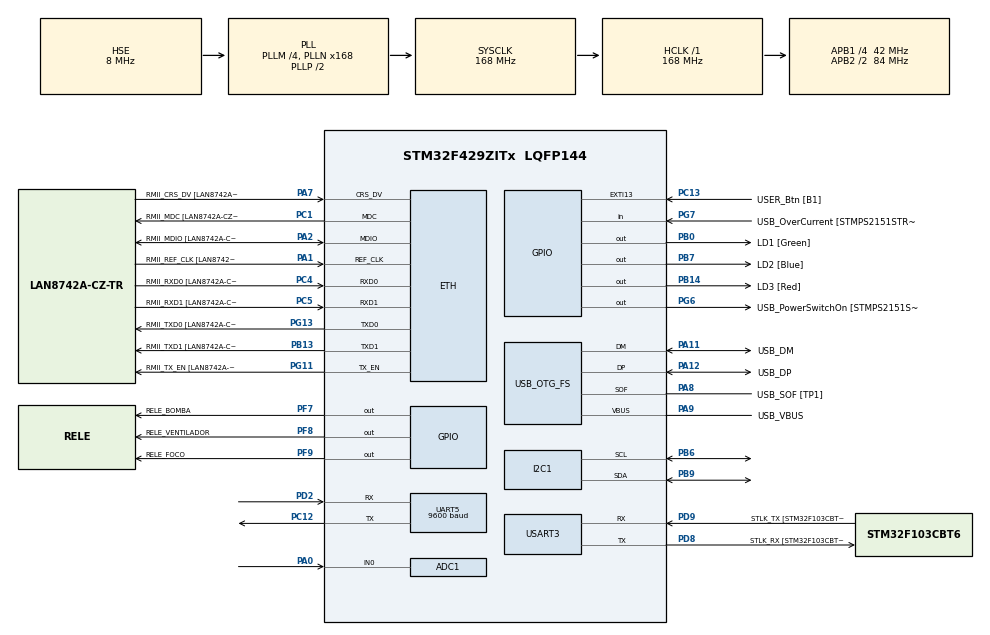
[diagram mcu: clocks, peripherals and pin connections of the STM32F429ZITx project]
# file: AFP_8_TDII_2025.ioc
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ADC1.Channel-0\#ChannelRegularConversion=ADC_CHANNEL_0
ADC1.NbrOfConversionFlag=1
ADC1.Rank-0\#ChannelRegularConversion=1
ADC1.SamplingTime-0\#ChannelRegularConversion=ADC_SAMPLETIME_3CYCLES
ADC1.master=1
ETH.MediaInterface=HAL_ETH_RMII_MODE
ETH.PHY_Name=LAN8742A_PHY_ADDRESS
ETH.PHY_Value=0
ETH.PhyAddress=0
Mcu.Family=STM32F4
Mcu.Name=STM32F429ZITx
Mcu.Package=LQFP144
NVIC.PriorityGroup=NVIC_PRIORITYGROUP_4
PA0/WKUP.Signal=ADCx_IN0
PA1.GPIO_Label=RMII_REF_CLK [LAN8742A-CZ-TR_REFCLK0]
PA1.Mode=RMII
PA1.Signal=ETH_REF_CLK
PA10.GPIO_Label=USB_ID
PA10.Signal=USB_OTG_FS_ID
PA11.GPIO_Label=USB_DM
PA11.Mode=Device_Only
PA11.Signal=USB_OTG_FS_DM
PA12.GPIO_Label=USB_DP
PA12.Mode=Device_Only
PA12.Signal=USB_OTG_FS_DP
PA13.GPIO_Label=TMS
PA13.Mode=Serial_Wire
PA13.Signal=SYS_JTMS-SWDIO
PA14.GPIO_Label=TCK
PA14.Mode=Serial_Wire
PA14.Signal=SYS_JTCK-SWCLK
PA2.GPIO_Label=RMII_MDIO [LAN8742A-CZ-TR_MDIO]
PA2.Mode=RMII
PA2.Signal=ETH_MDIO
PA7.GPIO_Label=RMII_CRS_DV [LAN8742A-CZ-TR_CRS_DV]
PA7.Mode=RMII
PA7.Signal=ETH_CRS_DV
PA8.GPIO_Label=USB_SOF [TP1]
PA8.Mode=Activate_SOF_FS
PA8.Signal=USB_OTG_FS_SOF
PA9.GPIO_Label=USB_VBUS
PA9.Mode=Activate_VBUS
PA9.Signal=USB_OTG_FS_VBUS
PB0.GPIO_Label=LD1 [Green]
PB0.Signal=GPIO_Output
PB13.GPIO_Label=RMII_TXD1 [LAN8742A-CZ-TR_TXD1]
PB13.Mode=RMII
PB13.Signal=ETH_TXD1
PB14.GPIO_Label=LD3 [Red]
PB14.Signal=GPIO_Output
PB6.Mode=I2C
PB6.Signal=I2C1_SCL
PB7.GPIO_Label=LD2 [Blue]
PB7.Signal=GPIO_Output
PB9.Mode=I2C
PB9.Signal=I2C1_SDA
PC1.GPIO_Label=RMII_MDC [LAN8742A-CZ-TR_MDC]
PC1.Mode=RMII
PC1.Signal=ETH_MDC
PC12.Mode=Asynchronous
PC12.Signal=UART5_TX
PC13.GPIO_Label=USER_Btn [B1]
PC13.Signal=GPXTI13
PC14/OSC32_IN.Mode=LSE-External-Oscillator
PC14/OSC32_IN.Signal=RCC_OSC32_IN
PC15/OSC32_OUT.Mode=LSE-External-Oscillator
PC15/OSC32_OUT.Signal=RCC_OSC32_OUT
PC4.GPIO_Label=RMII_RXD0 [LAN8742A-CZ-TR_RXD0]
PC4.Mode=RMII
PC4.Signal=ETH_RXD0
PC5.GPIO_Label=RMII_RXD1 [LAN8742A-CZ-TR_RXD1]
PC5.Mode=RMII
PC5.Signal=ETH_RXD1
PD2.Mode=Asynchronous
PD2.Signal=UART5_RX
PD8.GPIO_Label=STLK_RX [STM32F103CBT6_PA3]
PD8.Mode=Asynchronous
PD8.Signal=USART3_TX
PD9.GPIO_Label=STLK_TX [STM32F103CBT6_PA2]
PD9.Mode=Asynchronous
PD9.Signal=USART3_RX
PF7.GPIO_Label=RELE_BOMBA
PF7.Signal=GPIO_Output
PF8.GPIO_Label=RELE_VENTILADOR
PF8.Signal=GPIO_Output
PF9.GPIO_Label=RELE_FOCO
PF9.Signal=GPIO_Output
PG11.GPIO_Label=RMII_TX_EN [LAN8742A-CZ-TR_TXEN]
PG11.Mode=RMII
PG11.Signal=ETH_TX_EN
PG13.GPIO_Label=RMII_TXD0 [LAN8742A-CZ-TR_TXD0]
PG13.Mode=RMII
PG13.Signal=ETH_TXD0
PG6.GPIO_Label=USB_PowerSwitchOn [STMPS2151STR_EN]
PG6.Signal=GPIO_Output
PG7.GPIO_Label=USB_OverCurrent [STMPS2151STR_FAULT]
PG7.Signal=GPIO_Input
PH0/OSC_IN.GPIO_Label=MCO [STM32F103CBT6_PA8]
PH0/OSC_IN.Mode=HSE-External-Clock-Source
PH0/OSC_IN.Signal=RCC_OSC_IN
PH1/OSC_OUT.Mode=HSE-External-Clock-Source
PH1/OSC_OUT.Signal=RCC_OSC_OUT
ProjectManager.HeapSize=0x200
ProjectManager.StackSize=0x400
ProjectManager.TargetToolchain=STM32CubeIDE
RCC.48MHZClocksFreq_Value=48000000
RCC.AHBFreq_Value=168000000
RCC.APB1CLKDivider=RCC_HCLK_DIV4
RCC.APB1Freq_Value=42000000
RCC.APB1TimFreq_Value=84000000
RCC.APB2CLKDivider=RCC_HCLK_DIV2
RCC.APB2Freq_Value=84000000
RCC.APB2TimCLKDivider=2
RCC.APB2TimFreq_Value=168000000
RCC.CortexFreq_Value=168000000
RCC.HCLKFreq_Value=168000000
RCC.HSE_VALUE=8000000
RCC.HSI_VALUE=16000000
RCC.PLLM=4
RCC.PLLMUL=RCC_PLL_MUL9
RCC.PLLN=168
RCC.PLLQ=7
RCC.PRESCALERUSB=RCC_USBCLKSOURCE_PLL_DIV1_5
RCC.SYSCLKFreq_VALUE=168000000
RCC.SYSCLKSource=RCC_SYSCLKSOURCE_PLLCLK
RCC.SYSCLKSourceVirtual=RCC_SYSCLKSOURCE_PLLCLK
RCC.USBFreq_Value=48000000
RCC.VCOOutputFreq_Value=336000000
SH.ADCx_IN0.0=ADC1_IN0,IN0
UART5.BaudRate=9600
UART5.VirtualMode=Asynchronous
USART3.VirtualMode=VM_ASYNC
USB_OTG_FS.VirtualMode=Device_Only
board=NUCLEO-F429ZI

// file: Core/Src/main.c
/* USER CODE BEGIN Header */
/**
  ******************************************************************************
  * @file           : main.c
  * @brief          : Main program body
  ******************************************************************************
  * @attention
  *
  * Copyright (c) 2026 STMicroelectronics.
  * All rights reserved.
  *
  * This software is licensed under terms that can be found in the LICENSE file
  * in the root directory of this software component.
  * If no LICENSE file comes with this software, it is provided AS-IS.
  *
  ******************************************************************************
  */
/* USER CODE END Header */
#include "main.h"
#include "string.h"

/* USER CODE BEGIN Includes */
#include "Driver_GPIO.h"
#include "Driver_LCD.h"
#include "Driver_Delay.h"
#include "Driver_SensorSuelo.h"
#include "Driver_SHT30.h"
#include "Driver_Bluetooth.h" // <--- Tu driver portable
#include "Infraestructura.h" // <--- El puente al hardware
#include <stdio.h>
/* USER CODE END Includes */

/* USER CODE BEGIN PTD */
#define TIEMPO_LECTURA    2000
#define TIEMPO_BOMBA      3000
#define TIEMPO_VENTILADOR 3000
#define TIEMPO_FOCO       3000
// Definimos los "nombres" de cada etapa
typedef enum {
    ETAPA_BLUETOOTH = 0,
    ETAPA_SENSORES_LCD,
    ETAPA_LOGICA_ENCENDIDO,
    ETAPA_AUTO_APAGADO
} Etapa_t;
/* USER CODE END PTD */

ETH_TxPacketConfig TxConfig;
ETH_DMADescTypeDef  DMARxDscrTab[ETH_RX_DESC_CNT]; /* Ethernet Rx DMA Descriptors */
ETH_DMADescTypeDef  DMATxDscrTab[ETH_TX_DESC_CNT]; /* Ethernet Tx DMA Descriptors */

ADC_HandleTypeDef hadc1;

ETH_HandleTypeDef heth;

I2C_HandleTypeDef hi2c1;

UART_HandleTypeDef huart5;
UART_HandleTypeDef huart3;

PCD_HandleTypeDef hpcd_USB_OTG_FS;

/* USER CODE BEGIN PV */
Actuador_t bomba;
Actuador_t ventilador;
Actuador_t foco;
Actuador_t LED1;
Actuador_t LED2;
Actuador_t LED3;
//------>delay_t delayLector;//Esto queda en forma de comentario por si lo queremos usar despues de otra forma
SensorHumedad_t sensorSuelo;
SHT30_t sensorAire;
Bluetooth_t miBluetooth; // Instancia Bluetooth
LCD_t miLCD;
// --- Temporizadores ---
delay_t timerLectura;     // Para leer sensores cada 1 seg
delay_t timerBomba;       // Para contar los 30 seg de riego
delay_t timerVentilador;  // Para contar los 30 seg de ventilación
delay_t timerFoco;  // Para contar los 30 seg de luz

// --- Variables de Estado (Esto usaremos dentro del while) ---
char bufferDisplay[50];

// --- Constantes de Calibración ---
#define UMBRAL_SECO    20  // Si baja de 20%, regar
#define TEMP_UMBRAL_ALTA   35.0f
#define TEMP_UMBRAL_BAJA   10.0f

/* USER CODE END PV */

void SystemClock_Config(void);
static void MX_GPIO_Init(void);
static void MX_ETH_Init(void);
static void MX_USART3_UART_Init(void);
static void MX_USB_OTG_FS_PCD_Init(void);
static void MX_ADC1_Init(void);
static void MX_I2C1_Init(void);
static void MX_UART5_Init(void);

int main(void)
{

  /* MCU Configuration--------------------------------------------------------*/

  /* Reset of all peripherals, Initializes the Flash interface and the Systick. */
  HAL_Init();

  /* Configure the system clock */
  SystemClock_Config();

  /* Initialize all configured peripherals */
  MX_GPIO_Init();
  MX_ETH_Init();
  MX_USART3_UART_Init();
  MX_USB_OTG_FS_PCD_Init();
  MX_ADC1_Init();
  MX_I2C1_Init();
  MX_UART5_Init();
  /* USER CODE BEGIN 2 */
  // 1. Init Infraestructura y Drivers

    // LCD: I2C y Delay
    Infra_Delay(1000);
    LCD_Inicializar(&miLCD, (0x27 << 1), Infra_I2C_Write, Infra_Delay);

    // SHT30: I2C (Write/Read) y Delay
    SHT30_Inicializar(&sensorAire, (0x44 << 1), Infra_I2C_Write, Infra_I2C_Read, Infra_Delay);

    // Sensor Suelo: ADC
    SensorHumedad_Inicializar(&sensorSuelo, 4095, 950, Infra_ADC_Read);
    // Bluetooth: UART (Write/Read) -> AQUI CONECTAMOS CON INFRA
    Bluetooth_Inicializar(&miBluetooth, Infra_UART_Write, Infra_UART_Read);

    // Tiempos
//----->    delayInit(&delayLector, 1000, Infra_GetTick);

    // 2. Configuración de Tiempos
    Delay_Inicializar(&timerLectura,    TIEMPO_LECTURA,    Infra_GetTick);
    Delay_Inicializar(&timerBomba,      TIEMPO_BOMBA,      Infra_GetTick);
    Delay_Inicializar(&timerVentilador, TIEMPO_VENTILADOR, Infra_GetTick);
    Delay_Inicializar(&timerFoco,       TIEMPO_FOCO,       Infra_GetTick);

    LCD_Limpiar(&miLCD);
    LCD_Apuntar(&miLCD, 0, 0);
    LCD_EnviarCadena(&miLCD, "INICIANDO: ");
    LCD_Apuntar(&miLCD, 1, 0);
    LCD_EnviarCadena(&miLCD, "Sistema de riego");

    Actuador_Inicializar(&bomba,      (void*)GPIOF, RELE_BOMBA_Pin, Infra_GPIO_Write);
    Actuador_Inicializar(&ventilador, (void*)GPIOF, RELE_VENTILADOR_Pin, Infra_GPIO_Write);
    Actuador_Inicializar(&foco,       (void*)GPIOF, RELE_FOCO_Pin, Infra_GPIO_Write);

    Actuador_Inicializar(&LED1,      (void*)GPIOB, LD1_Pin, Infra_GPIO_Write);
    Actuador_Inicializar(&LED2, (void*)GPIOB, LD2_Pin, Infra_GPIO_Write);
    Actuador_Inicializar(&LED3,       (void*)GPIOB, LD3_Pin, Infra_GPIO_Write);

    Etapa_t ETAPA_ACTUAL = ETAPA_BLUETOOTH;

  /* USER CODE END 2 */

  /* Infinite loop */
  while (1)
  {
	  while (1)
	  {
			  switch(ETAPA_ACTUAL) {

			  case ETAPA_BLUETOOTH:
		      // ============================================================
		      // CASO 1: RECEPCIÓN BLUETOOTH (Alta Prioridad)
		      // ============================================================
		      uint8_t datoRecibido = Bluetooth_Leer(&miBluetooth);
		      if (datoRecibido != 0) {
		          switch(datoRecibido) {
		              case 'A': // Bomba Manual
		            	  Actuador_Toggle(&bomba); // Invierte estado (Si estaba ON pasa a OFF y viceversa)
		            	  Actuador_Toggle(&LED1); // Invierte estado (Si estaba ON pasa a OFF y viceversa)

		            	      if(bomba.estadoActual == 1) {
		            	          Delay_Escribir(&timerBomba, TIEMPO_BOMBA); // Reiniciamos timer
		            	          // No hace falta poner GPIO_On, el Toggle ya lo hizo
		            	      }
		            	      break;

		              case 'B': // Ventilador Manual
		            	  Actuador_Toggle(&foco); // Invierte estado (Si estaba ON pasa a OFF y viceversa)
		            	  Actuador_Toggle(&LED3); // Invierte estado (Si estaba ON pasa a OFF y viceversa)

		            	      if(foco.estadoActual == 1) {
		            	    	  Delay_Escribir(&timerFoco, TIEMPO_FOCO); // Reiniciamos timer
		            	          // No hace falta poner GPIO_On, el Toggle ya lo hizo
		            	      }
		            	      break;

		              case 'C': // Ventilador Manual

			            	  Actuador_Toggle(&ventilador); // Invierte estado (Si estaba ON pasa a OFF y viceversa)
			            	  Actuador_Toggle(&LED2); // Invierte estado (Si estaba ON pasa a OFF y viceversa)

			            	      if(ventilador.estadoActual == 1) {
			            	    	  Delay_Escribir(&timerVentilador, TIEMPO_VENTILADOR); // Reiniciamos timer
			            	          // No hace falta poner GPIO_On, el Toggle ya lo hizo
			            	      }
			            	      break;

		          }
		      }

		      ETAPA_ACTUAL = ETAPA_SENSORES_LCD;
		      break;

			  case ETAPA_SENSORES_LCD:
		      // ============================================================
		      // 2. LÓGICA DE SENSORES (Temporizada)
		      // ============================================================
		      if (Delay_Leer(&timerLectura)) {

		          // A. Actualizar Valores
		          SHT30_Leer(&sensorAire); // Actualiza .temperatura y .humedad en la estructura
		          SensorHumedad_LeerPorcentaje(&sensorSuelo);
		          // Leemos el suelo y lo guardamos en una variable local auxiliar
		         // LCD_Limpiar(&miLCD);---------------------------------------> Dejamos sin uso esta linea de limpiar LCD ya que sobre escribimos con los espacios correspondientes
		          // B. Mostrar en LCD - FILA 0: Datos del Sensor de Aire (SHT30)
		          LCD_Apuntar(&miLCD, 0, 0);
		          sprintf(bufferDisplay, "T:%d C HA:%d %  %",sensorAire.temperatura, sensorAire.humedad);
		          LCD_EnviarCadena(&miLCD, bufferDisplay);

		          // C. Mostrar en LCD - FILA 1: Datos del Sensor de Suelo
		          LCD_Apuntar(&miLCD, 1, 0);
		          sprintf(bufferDisplay, "Suelo: %d %%        ", sensorSuelo.humedadSuelo);
		          LCD_EnviarCadena(&miLCD, bufferDisplay);

//		          uint32_t valorCrudo = HAL_ADC_GetValue(&hadc1);
//		          // 2. Imprímelo en el LCD o Bluetooth
//		          sprintf(bufferDisplay, "RAW: %lu      ", valorCrudo);
//		          LCD_EnviarCadena(&miLCD, bufferDisplay);

		          // D. Enviar por Bluetooth (Todo junto separado por ;)
		          // Formato: T:25.5;H:60;S:40
		          sprintf(bufferDisplay, " %d; %d; %d; \n", sensorAire.humedad, sensorAire.temperatura, sensorSuelo.humedadSuelo);
		          Bluetooth_Enviar(&miBluetooth, bufferDisplay);

		          ETAPA_ACTUAL = ETAPA_LOGICA_ENCENDIDO;
		          break;

		          case ETAPA_LOGICA_ENCENDIDO:
		            // ============================================================
			        // CASE 3: LÓGICA DE CONTROL (Decidir encender)
			        // ============================================================
		          // Usamos la variable local 'humedadSuelo' que acabamos de leer
		          if (sensorSuelo.humedadSuelo < UMBRAL_SECO && bomba.estadoActual == 0) {
		        	  Actuador_On(&bomba); // Rele ON
		        	  Actuador_On(&LED1); // Rele ON

		        	  Delay_Escribir(&timerBomba, TIEMPO_BOMBA); // Iniciamos cuenta regresiva
		          }

		          // --------------------------------------------------------
		          // F. AUTOMATIZACIÓN VENTILADOR (Calor)
		          // --------------------------------------------------------
		          if (sensorAire.temperatura < TEMP_UMBRAL_BAJA && foco.estadoActual == 0) {
		        	  Actuador_On(&foco);   // Foco ON
		        	  Actuador_On(&LED3);   // Foco ON

		        	  Delay_Escribir(&timerFoco, TIEMPO_FOCO); // Iniciamos cuenta regresiva
		          }

		          // --------------------------------------------------------
		          // G. AUTOMATIZACIÓN BOMBILLA (Frio) - Histéresis
		          // --------------------------------------------------------
		        	if (sensorAire.temperatura > TEMP_UMBRAL_ALTA && ventilador.estadoActual == 0) {
		        	  Actuador_On(&ventilador); // Rela Vent ON
		        	  Actuador_On(&LED2); // Rela Vent ON

		        	  Delay_Escribir(&timerVentilador, TIEMPO_VENTILADOR); // Iniciamos cuenta regresiva
		          }

		      }

		      ETAPA_ACTUAL = ETAPA_AUTO_APAGADO;
		      break;

			  case ETAPA_AUTO_APAGADO:

		      // ============================================================
		            // CASE 4: CHEQUEO DE TIEMPOS Y APAGADO (Seguridad)
		            // ============================================================

		      // Chequeo Bomba
		      if (sensorSuelo.humedadSuelo > UMBRAL_SECO+10.0f && bomba.estadoActual == 1) {
		          if (Delay_Leer(&timerBomba)) {
		        	  Actuador_Off(&bomba); // Relay OFF
		        	  Actuador_Off(&LED1); // Relay OFF

		              Bluetooth_Enviar(&miBluetooth, ";;;Bomba: Auto-Off\n");
		          }
		      }
		      // Chequeo foco
		      if (sensorAire.temperatura > TEMP_UMBRAL_BAJA+5.0f && foco.estadoActual == 1) {
		          if (Delay_Leer(&timerFoco)) {
		        	  Actuador_Off(&foco);
		        	  Actuador_Off(&LED3);

		              Bluetooth_Enviar(&miBluetooth, ";;;Foco: Auto-Off\n");
		          }
		      }
		      // Chequeo Ventilador
		      if (sensorAire.temperatura < TEMP_UMBRAL_ALTA-4.0f && ventilador.estadoActual == 1) {
		          if (Delay_Leer(&timerVentilador)) {
		        	  Actuador_Off(&ventilador); // Relay OFF
		        	  Actuador_Off(&LED2); // Relay OFF

		              Bluetooth_Enviar(&miBluetooth, ";;;Ventilador: Auto-Off\n");
		          }

		      }

		                ETAPA_ACTUAL = ETAPA_BLUETOOTH;
		                break;
		  }
		}
		}
}
void SystemClock_Config(void)
{
  RCC_OscInitTypeDef RCC_OscInitStruct = {0};
  RCC_ClkInitTypeDef RCC_ClkInitStruct = {0};

  /** Configure the main internal regulator output voltage
  */
  __HAL_RCC_PWR_CLK_ENABLE();
  __HAL_PWR_VOLTAGESCALING_CONFIG(PWR_REGULATOR_VOLTAGE_SCALE1);

  /** Initializes the RCC Oscillators according to the specified parameters
  * in the RCC_OscInitTypeDef structure.
  */
  RCC_OscInitStruct.OscillatorType = RCC_OSCILLATORTYPE_HSE;
  RCC_OscInitStruct.HSEState = RCC_HSE_BYPASS;
  RCC_OscInitStruct.PLL.PLLState = RCC_PLL_ON;
  RCC_OscInitStruct.PLL.PLLSource = RCC_PLLSOURCE_HSE;
  RCC_OscInitStruct.PLL.PLLM = 4;
  RCC_OscInitStruct.PLL.PLLN = 168;
  RCC_OscInitStruct.PLL.PLLP = RCC_PLLP_DIV2;
  RCC_OscInitStruct.PLL.PLLQ = 7;
  if (HAL_RCC_OscConfig(&RCC_OscInitStruct) != HAL_OK)
  {
    Error_Handler();
  }

  /** Initializes the CPU, AHB and APB buses clocks
  */
  RCC_ClkInitStruct.ClockType = RCC_CLOCKTYPE_HCLK|RCC_CLOCKTYPE_SYSCLK
                              |RCC_CLOCKTYPE_PCLK1|RCC_CLOCKTYPE_PCLK2;
  RCC_ClkInitStruct.SYSCLKSource = RCC_SYSCLKSOURCE_PLLCLK;
  RCC_ClkInitStruct.AHBCLKDivider = RCC_SYSCLK_DIV1;
  RCC_ClkInitStruct.APB1CLKDivider = RCC_HCLK_DIV4;
  RCC_ClkInitStruct.APB2CLKDivider = RCC_HCLK_DIV2;

  if (HAL_RCC_ClockConfig(&RCC_ClkInitStruct, FLASH_LATENCY_5) != HAL_OK)
  {
    Error_Handler();
  }
}

static void MX_ADC1_Init(void)
{

  ADC_ChannelConfTypeDef sConfig = {0};

  /** Configure the global features of the ADC (Clock, Resolution, Data Alignment and number of conversion)
  */
  hadc1.Instance = ADC1;
  hadc1.Init.ClockPrescaler = ADC_CLOCK_SYNC_PCLK_DIV4;
  hadc1.Init.Resolution = ADC_RESOLUTION_12B;
  hadc1.Init.ScanConvMode = DISABLE;
  hadc1.Init.ContinuousConvMode = DISABLE;
  hadc1.Init.DiscontinuousConvMode = DISABLE;
  hadc1.Init.ExternalTrigConvEdge = ADC_EXTERNALTRIGCONVEDGE_NONE;
  hadc1.Init.ExternalTrigConv = ADC_SOFTWARE_START;
  hadc1.Init.DataAlign = ADC_DATAALIGN_RIGHT;
  hadc1.Init.NbrOfConversion = 1;
  hadc1.Init.DMAContinuousRequests = DISABLE;
  hadc1.Init.EOCSelection = ADC_EOC_SINGLE_CONV;
  if (HAL_ADC_Init(&hadc1) != HAL_OK)
  {
    Error_Handler();
  }

  /** Configure for the selected ADC regular channel its corresponding rank in the sequencer and its sample time.
  */
  sConfig.Channel = ADC_CHANNEL_0;
  sConfig.Rank = 1;
  sConfig.SamplingTime = ADC_SAMPLETIME_3CYCLES;
  if (HAL_ADC_ConfigChannel(&hadc1, &sConfig) != HAL_OK)
  {
    Error_Handler();
  }

}

static void MX_ETH_Init(void)
{

   static uint8_t MACAddr[6];

  heth.Instance = ETH;
  MACAddr[0] = 0x00;
  MACAddr[1] = 0x80;
  MACAddr[2] = 0xE1;
  MACAddr[3] = 0x00;
  MACAddr[4] = 0x00;
  MACAddr[5] = 0x00;
  heth.Init.MACAddr = &MACAddr[0];
  heth.Init.MediaInterface = HAL_ETH_RMII_MODE;
  heth.Init.TxDesc = DMATxDscrTab;
  heth.Init.RxDesc = DMARxDscrTab;
  heth.Init.RxBuffLen = 1524;

  if (HAL_ETH_Init(&heth) != HAL_OK)
  {
    Error_Handler();
  }

  memset(&TxConfig, 0 , sizeof(ETH_TxPacketConfig));
  TxConfig.Attributes = ETH_TX_PACKETS_FEATURES_CSUM | ETH_TX_PACKETS_FEATURES_CRCPAD;
  TxConfig.ChecksumCtrl = ETH_CHECKSUM_IPHDR_PAYLOAD_INSERT_PHDR_CALC;
  TxConfig.CRCPadCtrl = ETH_CRC_PAD_INSERT;

}

static void MX_I2C1_Init(void)
{

  hi2c1.Instance = I2C1;
  hi2c1.Init.ClockSpeed = 100000;
  hi2c1.Init.DutyCycle = I2C_DUTYCYCLE_2;
  hi2c1.Init.OwnAddress1 = 0;
  hi2c1.Init.AddressingMode = I2C_ADDRESSINGMODE_7BIT;
  hi2c1.Init.DualAddressMode = I2C_DUALADDRESS_DISABLE;
  hi2c1.Init.OwnAddress2 = 0;
  hi2c1.Init.GeneralCallMode = I2C_GENERALCALL_DISABLE;
  hi2c1.Init.NoStretchMode = I2C_NOSTRETCH_DISABLE;
  if (HAL_I2C_Init(&hi2c1) != HAL_OK)
  {
    Error_Handler();
  }

  /** Configure Analogue filter
  */
  if (HAL_I2CEx_ConfigAnalogFilter(&hi2c1, I2C_ANALOGFILTER_ENABLE) != HAL_OK)
  {
    Error_Handler();
  }

  /** Configure Digital filter
  */
  if (HAL_I2CEx_ConfigDigitalFilter(&hi2c1, 0) != HAL_OK)
  {
    Error_Handler();
  }

}

static void MX_UART5_Init(void)
{

  huart5.Instance = UART5;
  huart5.Init.BaudRate = 9600;
  huart5.Init.WordLength = UART_WORDLENGTH_8B;
  huart5.Init.StopBits = UART_STOPBITS_1;
  huart5.Init.Parity = UART_PARITY_NONE;
  huart5.Init.Mode = UART_MODE_TX_RX;
  huart5.Init.HwFlowCtl = UART_HWCONTROL_NONE;
  huart5.Init.OverSampling = UART_OVERSAMPLING_16;
  if (HAL_UART_Init(&huart5) != HAL_OK)
  {
    Error_Handler();
  }

}

static void MX_USART3_UART_Init(void)
{

  huart3.Instance = USART3;
  huart3.Init.BaudRate = 115200;
  huart3.Init.WordLength = UART_WORDLENGTH_8B;
  huart3.Init.StopBits = UART_STOPBITS_1;
  huart3.Init.Parity = UART_PARITY_NONE;
  huart3.Init.Mode = UART_MODE_TX_RX;
  huart3.Init.HwFlowCtl = UART_HWCONTROL_NONE;
  huart3.Init.OverSampling = UART_OVERSAMPLING_16;
  if (HAL_UART_Init(&huart3) != HAL_OK)
  {
    Error_Handler();
  }

}

static void MX_USB_OTG_FS_PCD_Init(void)
{

  hpcd_USB_OTG_FS.Instance = USB_OTG_FS;
  hpcd_USB_OTG_FS.Init.dev_endpoints = 4;
  hpcd_USB_OTG_FS.Init.speed = PCD_SPEED_FULL;
  hpcd_USB_OTG_FS.Init.dma_enable = DISABLE;
  hpcd_USB_OTG_FS.Init.phy_itface = PCD_PHY_EMBEDDED;
  hpcd_USB_OTG_FS.Init.Sof_enable = ENABLE;
  hpcd_USB_OTG_FS.Init.low_power_enable = DISABLE;
  hpcd_USB_OTG_FS.Init.lpm_enable = DISABLE;
  hpcd_USB_OTG_FS.Init.vbus_sensing_enable = ENABLE;
  hpcd_USB_OTG_FS.Init.use_dedicated_ep1 = DISABLE;
  if (HAL_PCD_Init(&hpcd_USB_OTG_FS) != HAL_OK)
  {
    Error_Handler();
  }

}

static void MX_GPIO_Init(void)
{
  GPIO_InitTypeDef GPIO_InitStruct = {0};

  /* GPIO Ports Clock Enable */
  __HAL_RCC_GPIOC_CLK_ENABLE();
  __HAL_RCC_GPIOF_CLK_ENABLE();
  __HAL_RCC_GPIOH_CLK_ENABLE();
  __HAL_RCC_GPIOA_CLK_ENABLE();
  __HAL_RCC_GPIOB_CLK_ENABLE();
  __HAL_RCC_GPIOD_CLK_ENABLE();
  __HAL_RCC_GPIOG_CLK_ENABLE();

  /*Configure GPIO pin Output Level */
  HAL_GPIO_WritePin(GPIOF, RELE_BOMBA_Pin|RELE_VENTILADOR_Pin|RELE_FOCO_Pin, GPIO_PIN_RESET);

  /*Configure GPIO pin Output Level */
  HAL_GPIO_WritePin(GPIOB, LD1_Pin|LD3_Pin|LD2_Pin, GPIO_PIN_RESET);

  /*Configure GPIO pin Output Level */
  HAL_GPIO_WritePin(USB_PowerSwitchOn_GPIO_Port, USB_PowerSwitchOn_Pin, GPIO_PIN_RESET);

  /*Configure GPIO pin : USER_Btn_Pin */
  GPIO_InitStruct.Pin = USER_Btn_Pin;
  GPIO_InitStruct.Mode = GPIO_MODE_IT_RISING;
  GPIO_InitStruct.Pull = GPIO_NOPULL;
  HAL_GPIO_Init(USER_Btn_GPIO_Port, &GPIO_InitStruct);

  /*Configure GPIO pins : RELE_BOMBA_Pin RELE_VENTILADOR_Pin RELE_FOCO_Pin */
  GPIO_InitStruct.Pin = RELE_BOMBA_Pin|RELE_VENTILADOR_Pin|RELE_FOCO_Pin;
  GPIO_InitStruct.Mode = GPIO_MODE_OUTPUT_PP;
  GPIO_InitStruct.Pull = GPIO_NOPULL;
  GPIO_InitStruct.Speed = GPIO_SPEED_FREQ_LOW;
  HAL_GPIO_Init(GPIOF, &GPIO_InitStruct);

  /*Configure GPIO pins : LD1_Pin LD3_Pin LD2_Pin */
  GPIO_InitStruct.Pin = LD1_Pin|LD3_Pin|LD2_Pin;
  GPIO_InitStruct.Mode = GPIO_MODE_OUTPUT_PP;
  GPIO_InitStruct.Pull = GPIO_NOPULL;
  GPIO_InitStruct.Speed = GPIO_SPEED_FREQ_LOW;
  HAL_GPIO_Init(GPIOB, &GPIO_InitStruct);

  /*Configure GPIO pin : USB_PowerSwitchOn_Pin */
  GPIO_InitStruct.Pin = USB_PowerSwitchOn_Pin;
  GPIO_InitStruct.Mode = GPIO_MODE_OUTPUT_PP;
  GPIO_InitStruct.Pull = GPIO_NOPULL;
  GPIO_InitStruct.Speed = GPIO_SPEED_FREQ_LOW;
  HAL_GPIO_Init(USB_PowerSwitchOn_GPIO_Port, &GPIO_InitStruct);

  /*Configure GPIO pin : USB_OverCurrent_Pin */
  GPIO_InitStruct.Pin = USB_OverCurrent_Pin;
  GPIO_InitStruct.Mode = GPIO_MODE_INPUT;
  GPIO_InitStruct.Pull = GPIO_NOPULL;
  HAL_GPIO_Init(USB_OverCurrent_GPIO_Port, &GPIO_InitStruct);

}

void Error_Handler(void)
{
  __disable_irq();
  while (1)
  {
  }
}
